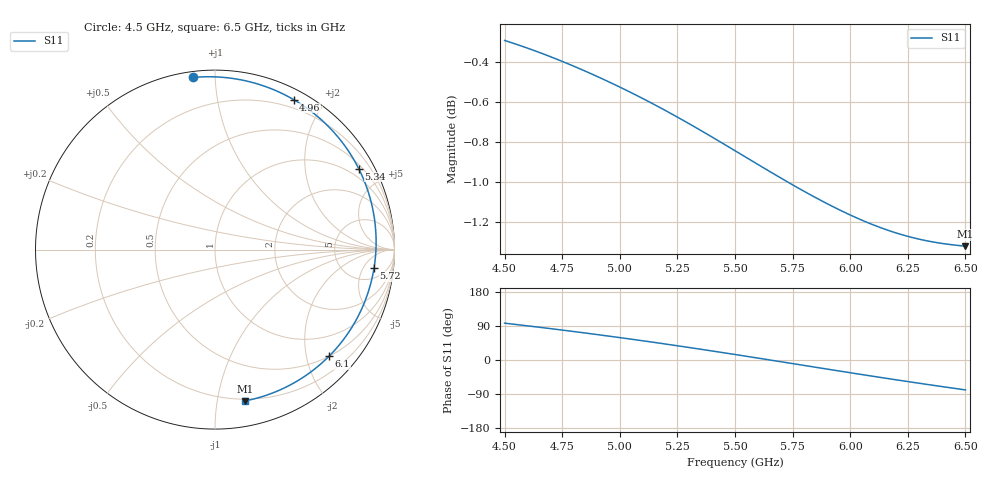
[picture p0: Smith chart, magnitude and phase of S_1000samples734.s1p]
! TOUCHSTONE file generated by CST MICROWAVE STUDIO
! Date and time: Sat Oct 29 05:07:56 2022
! Project name: L.cst
! Parameters = {Di=1.27; Epsilon_r=1.56; InnerDiameter=1.27; Length=2; Lf=10; Lg=60; OuterConductorThickness=0.2921; OuterDiameter=3.6; Wf=3; Wp=41.2; de=1.5; df=6.8; g=0.8; gx=3.99075; gy=4.26166; h=2.34; hf=1.524; px=9.45272; py=9.96926; w=9.7; wx=5.46196; wy=5.7076}
! Header version: 2018
! Port assignment regex: !\s*Touchstone port\s*([0-9]+)\s*=\s*(CST MWS port|CST DS port)\s*([0-9]+|Zmin|Zmax)\s*\(\"(.*)\"\)(\s*mode\s*([0-9]+))?.*
! Touchstone port assignment:
! Touchstone port 1 = CST MWS port 1 ("")
# GHz S DB R 50
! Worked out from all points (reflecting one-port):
!   101 points, 4.5 GHz to 6.5 GHz, reference 50 ohm
!   lowest |S11| = -1.3 dB at 6.5 GHz (marker M1), VSWR 13.21, Z = 9.3 - j59.9 ohm
!   phase of S11 starts at 97 deg and turns -176 deg over the sweep
!   S11 on the Smith chart (normalised r, x): 4.5 GHz: 0.03, +0.88; 4.96 GHz: 0.11, +1.65; 5.34 GHz: 0.64, +3.71; 5.72 GHz: 9, -9; 6.1 GHz: 0.50, -2.45; 6.5 GHz: 0.19, -1.20
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4.5  -0.29 97.2
4.58  -0.32 91.5
4.64  -0.35 87.2
4.76  -0.40 78.2
4.86  -0.45 70.4
4.96  -0.50 62.4
5  -0.53 59.1
5.12  -0.59 49.0
5.18  -0.63 43.7
5.26  -0.68 36.6
5.34  -0.73 29.4
5.42  -0.79 22.0
5.5  -0.84 14.5
5.56  -0.88 8.8
5.62  -0.93 3.1
5.72  -0.99 -6.6
5.76  -1.02 -10.5
5.82  -1.06 -16.3
5.88  -1.09 -22.1
5.94  -1.13 -27.8
6  -1.16 -33.6
6.1  -1.21 -43.0
6.18  -1.24 -50.5
6.26  -1.27 -57.8
6.32  -1.29 -63.2
6.38  -1.30 -68.5
6.44  -1.31 -73.7
6.5  -1.32 -78.9
